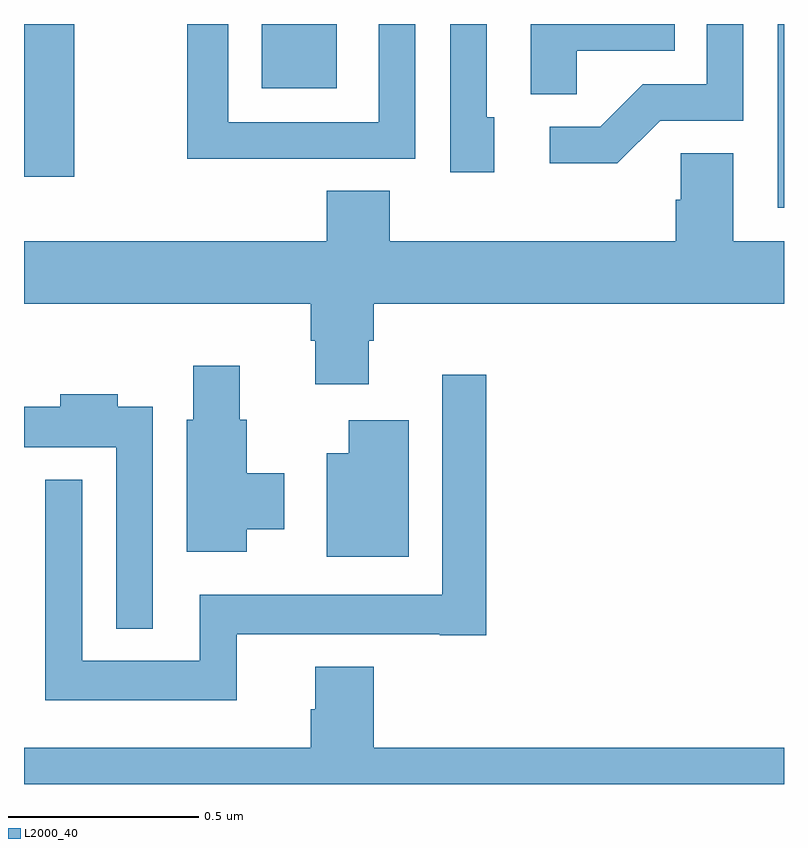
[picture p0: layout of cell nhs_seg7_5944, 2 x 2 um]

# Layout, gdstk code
import gdstk
lib = gdstk.Library(unit=1e-6, precision=1e-09)
def R(c, l, rs):  # rectangles x0, y0, x1, y1
    for r in rs: c.add(gdstk.rectangle(r[:2], r[2:], *l))
def P(c, l, *ps):  # polygons
    for p in ps: c.add(gdstk.Polygon(p, *l))
L2000_40 = (2000, 40)

nhs_seg7_5944 = lib.new_cell('nhs_seg7_5944')
R(nhs_seg7_5944, L2000_40, [(193.983,1019.517,194,1020), (192,1019.598,192.132,1020), (192.626,1019.831,192.823,1020)])
P(nhs_seg7_5944, L2000_40, [(193.237,1019.754),(193.218,1019.754),(193.218,1020),(193.122,1020),(193.122,1019.61),(193.237,1019.61)],
  [(193.455,1019.93),(193.712,1019.93),(193.712,1020),(193.334,1020),(193.334,1019.815),(193.455,1019.815)],
  [(192.713,1019.646),(193.029,1019.646),(193.029,1020),(192.933,1020),(192.933,1019.742),(192.537,1019.742),(192.537,1020),(192.429,1020),(192.429,1019.645),(192.713,1019.645)],
  [(193.674,1019.745),(193.893,1019.745),(193.893,1020),(193.797,1020),(193.797,1019.841),(193.628,1019.841),(193.517,1019.73),(193.383,1019.73),(193.383,1019.633),(193.561,1019.633)],
  [(192.907,1019.166),(192.92,1019.166),(192.92,1019.264),(194,1019.264),(194,1019.428),(193.867,1019.428),(193.867,1019.66),(193.728,1019.66),(193.728,1019.537),(193.715,1019.537),(193.715,1019.428),(192.962,1019.428),(192.962,1019.561),(192.797,1019.561),(192.797,1019.428),(192,1019.428),(192,1019.264),(192.755,1019.264),(192.755,1019.166),(192.767,1019.166),(192.767,1019.052),(192.907,1019.052)],
  [(192.586,1018.67),(192.685,1018.67),(192.685,1018.818),(192.586,1018.818),(192.586,1018.959),(192.568,1018.959),(192.568,1019.101),(192.446,1019.101),(192.446,1018.959),(192.428,1018.959),(192.428,1018.611),(192.586,1018.611)],
  [(192.56,1018.394),(193.094,1018.394),(193.094,1018.392),(193.217,1018.392),(193.217,1019.077),(193.101,1019.077),(193.101,1018.498),(192.462,1018.498),(192.462,1018.324),(192.153,1018.324),(192.153,1018.801),(192.056,1018.801),(192.056,1018.22),(192.56,1018.22)],
  [(192.339,1018.993),(192.247,1018.993),(192.247,1019.026),(192.095,1019.026),(192.095,1018.993),(192,1018.993),(192,1018.886),(192.243,1018.886),(192.243,1018.409),(192.339,1018.409)],
  [(193.012,1018.957),(192.854,1018.957),(192.854,1018.87),(192.797,1018.87),(192.797,1018.598),(193.012,1018.598)],
  [(194,1018.096),(192.92,1018.096),(192.92,1018.309),(192.767,1018.309),(192.767,1018.197),(192.755,1018.197),(192.755,1018.096),(192,1018.096),(192,1018),(194,1018)])

lib.write_gds('nhs_seg7_5944.gds')
